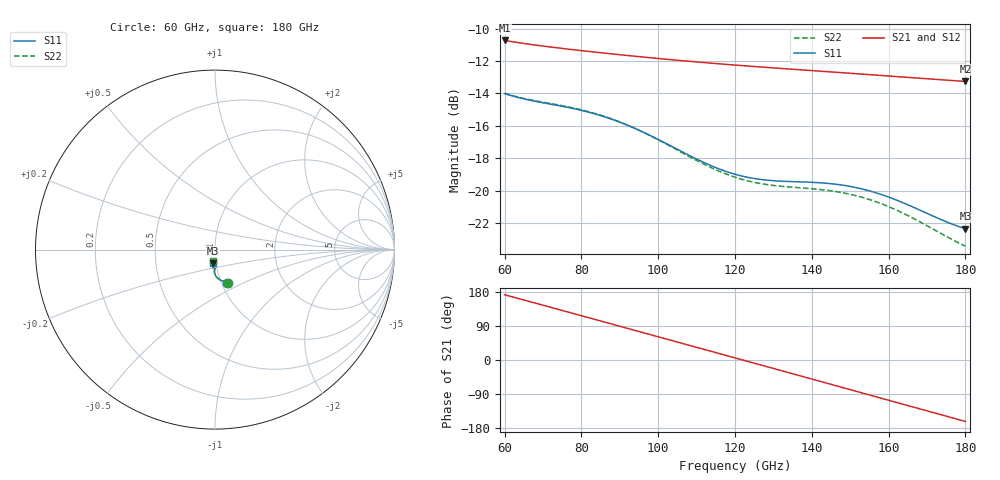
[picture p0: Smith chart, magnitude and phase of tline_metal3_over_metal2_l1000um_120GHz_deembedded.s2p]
! Created with skrf 2.0.1 (http://scikit-rf.org).
# GHz S DB R 50.0
!freq dBS11 angS11 dBS21 angS21 dBS12 angS12 dBS22 angS22
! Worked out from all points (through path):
!   101 points, 60 GHz to 180 GHz, reference 50 ohm
!   highest |S21| = -10.72 dB at 60 GHz (marker M1); lowest = -13.3 dB at 180 GHz (marker M2)
!   group delay of S21, straight-line fit = 7.74 ps
!   lowest |S11| = -22.3 dB at 180 GHz (marker M3), VSWR 1.17, Z = 48.5 - j7.39 ohm
!   |S11| at or under -10 dB: start of sweep to end of sweep
!   |S22| runs from -23.4 to -14.0 dB; largest |S21 - S12| = 4.2e-14
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60  -14.00 -70.6  -10.72 172.2  -10.72 172.2  -13.99 -69.5
64.8  -14.32 -71.4  -10.90 159.0  -10.90 159.0  -14.29 -70.3
69.6  -14.55 -72.7  -11.06 145.7  -11.06 145.7  -14.52 -71.8
75.6  -14.82 -75.3  -11.23 129.1  -11.23 129.1  -14.78 -74.5
80.4  -15.07 -77.9  -11.36 115.8  -11.36 115.8  -15.03 -77.2
85.2  -15.38 -80.8  -11.49 102.4  -11.49 102.4  -15.35 -80.3
90  -15.77 -83.8  -11.60 89.1  -11.60 89.1  -15.76 -83.4
94.8  -16.25 -86.5  -11.72 75.7  -11.72 75.7  -16.25 -86.4
100.8  -16.94 -89.2  -11.85 59.0  -11.85 59.0  -16.96 -89.4
110.4  -18.10 -91.2  -12.06 32.3  -12.06 32.3  -18.18 -91.8
115.2  -18.60 -91.1  -12.15 19.0  -12.15 19.0  -18.73 -91.9
120  -18.99 -90.4  -12.24 5.6  -12.24 5.6  -19.17 -91.4
124.8  -19.24 -89.7  -12.33 -7.8  -12.33 -7.8  -19.48 -90.8
129.6  -19.38 -89.2  -12.41 -21.1  -12.41 -21.1  -19.67 -90.5
134.4  -19.44 -89.4  -12.49 -34.5  -12.49 -34.5  -19.78 -90.7
140.4  -19.49 -90.5  -12.59 -51.3  -12.59 -51.3  -19.89 -91.9
146.4  -19.61 -92.6  -12.69 -68.1  -12.69 -68.1  -20.06 -94.1
151.2  -19.80 -94.5  -12.77 -81.6  -12.77 -81.6  -20.29 -96.2
156  -20.08 -96.5  -12.85 -95.0  -12.85 -95.0  -20.63 -98.5
160.8  -20.47 -98.3  -12.93 -108.4  -12.93 -108.4  -21.07 -100.5
170.4  -21.45 -99.6  -13.10 -135.3  -13.10 -135.3  -22.22 -102.6
180  -22.35 -97.0  -13.25 -162.1  -13.25 -162.1  -23.43 -100.6
